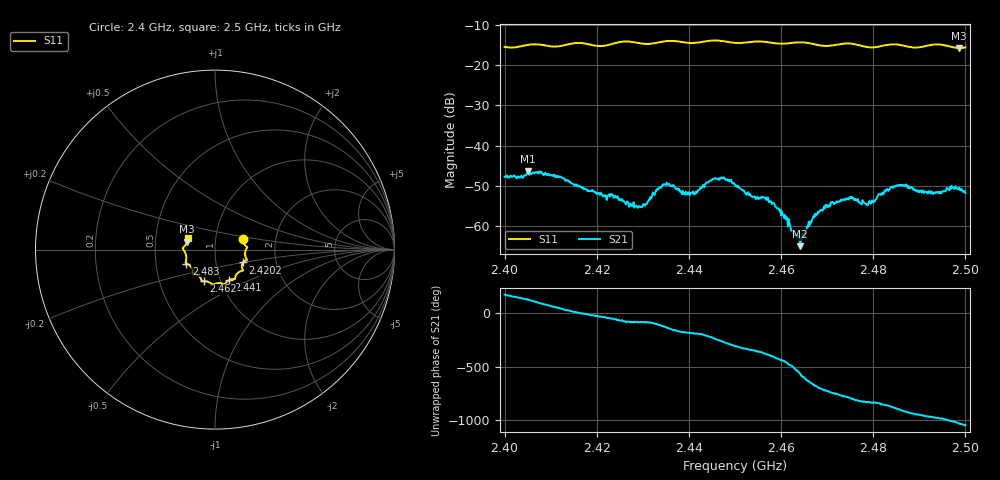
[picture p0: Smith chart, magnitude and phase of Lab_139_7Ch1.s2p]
# Hz S RI R 50
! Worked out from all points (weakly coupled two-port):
!   601 points, 2.4 GHz to 2.5 GHz, reference 50 ohm
!   highest |S21| = -46.37 dB at 2.405 GHz (marker M1); lowest = -64.9 dB at 2.4642 GHz (marker M2)
!   lowest |S11| = -15.8 dB at 2.4987 GHz (marker M3), VSWR 1.39, Z = 36.4 + j3.29 ohm
!   |S11| at or under -10 dB: start of sweep to end of sweep
!   S12 and S22 are empty: the file has one direction only
!   S11 on the Smith chart (normalised r, x): 2.4 GHz: 1.36, +0.17; 2.4202 GHz: 1.35, -0.20; 2.441 GHz: 1.10, -0.39; 2.462 GHz: 0.83, -0.30; 2.483 GHz: 0.72, -0.12; 2.5 GHz: 0.73, +0.09
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2.4e9  0.156 0.0603  -0.00407 0.000502  0 0  0 0
2.405e9  0.1764 0.0159  -0.00261 0.00403  0 0  0 0
2.411833e9  0.1677 -0.0286  0.00276 0.003  0 0  0 0
2.416667e9  0.1776 -0.0584  0.00307 -9.48e-05  0 0  0 0
2.420167e9  0.156 -0.0717  0.00224 -0.00117  0 0  0 0
2.429333e9  0.1407 -0.1213  0.000113 -0.00176  0 0  0 0
2.433333e9  0.1128 -0.1524  -0.000905 -0.00271  0 0  0 0
2.435167e9  0.1111 -0.1631  -0.00237 -0.00253  0 0  0 0
2.441e9  0.077 -0.1704  -0.00257 0.000442  0 0  0 0
2.445667e9  0.0528 -0.1941  -0.00206 0.00338  0 0  0 0
2.45e9  0.0266 -0.1861  0.002 0.00256  0 0  0 0
2.458e9  -0.0248 -0.1863  0.00139 -0.00128  0 0  0 0
2.462e9  -0.0617 -0.1763  -0.000575 -0.000809  0 0  0 0
2.464167e9  -0.0727 -0.1765  -0.000507 0.000253  0 0  0 0
2.466667e9  -0.0766 -0.167  0.000524 0.00103  0 0  0 0
2.471333e9  -0.1091 -0.1373  0.00174 -0.000885  0 0  0 0
2.475167e9  -0.1256 -0.1342  0.000493 -0.00217  0 0  0 0
2.479e9  -0.1298 -0.1032  -0.000712 -0.00183  0 0  0 0
2.483e9  -0.1592 -0.0781  -0.00227 -0.00181  0 0  0 0
2.483333e9  -0.1607 -0.0775  -0.00225 -0.00159  0 0  0 0
2.498667e9  -0.1557 0.044  0.00189 0.00235  0 0  0 0
2.5e9  -0.1528 0.0626  0.00215 0.00142  0 0  0 0
